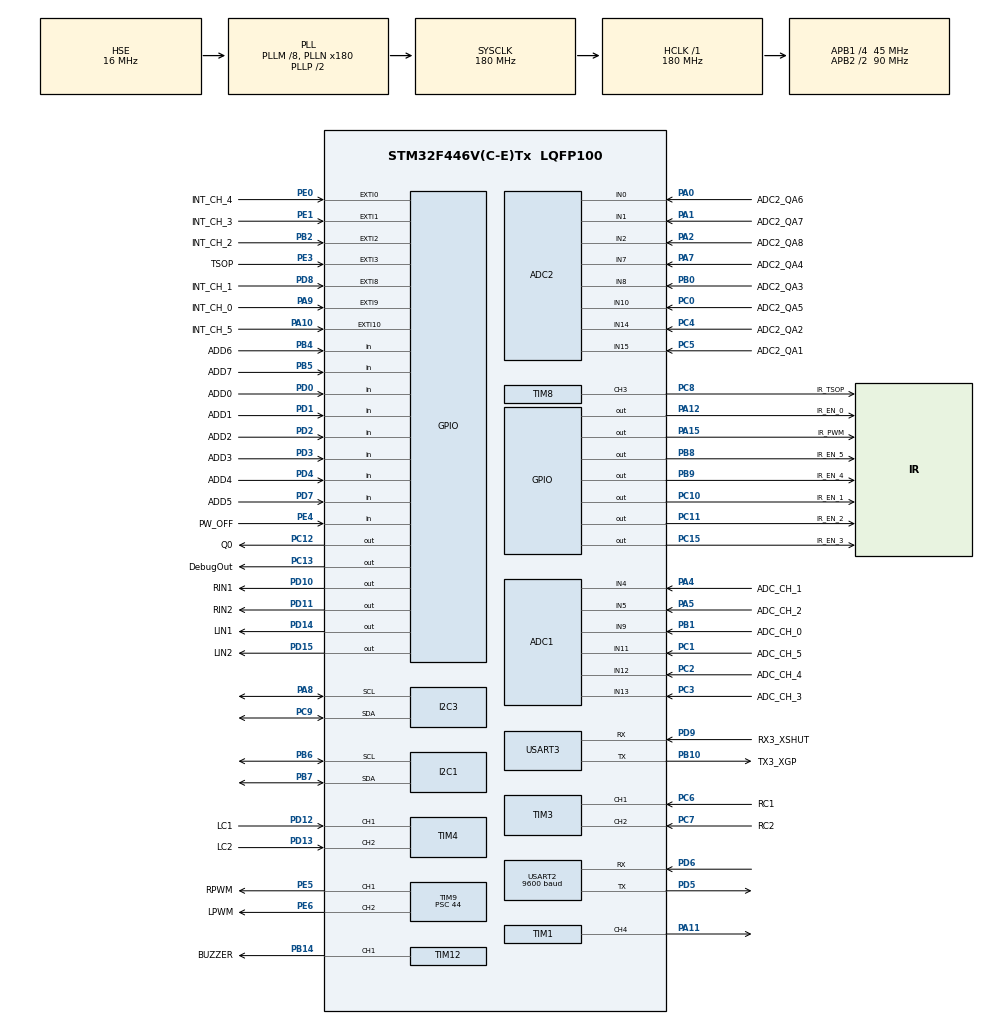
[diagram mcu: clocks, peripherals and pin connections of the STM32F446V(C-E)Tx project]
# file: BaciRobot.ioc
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ADC1.Channel-0\#ChannelRegularConversion=ADC_CHANNEL_9
ADC1.Channel-1\#ChannelRegularConversion=ADC_CHANNEL_4
ADC1.Channel-2\#ChannelRegularConversion=ADC_CHANNEL_5
ADC1.Channel-3\#ChannelRegularConversion=ADC_CHANNEL_13
ADC1.Channel-4\#ChannelRegularConversion=ADC_CHANNEL_12
ADC1.Channel-5\#ChannelRegularConversion=ADC_CHANNEL_11
ADC1.ClockPrescaler=ADC_CLOCK_SYNC_PCLK_DIV8
ADC1.ContinuousConvMode=DISABLE
ADC1.DMAContinuousRequests=DISABLE
ADC1.EOCSelection=ADC_EOC_SEQ_CONV
ADC1.NbrOfConversion=6
ADC1.NbrOfConversionFlag=1
ADC1.Rank-0\#ChannelRegularConversion=1
ADC1.Rank-1\#ChannelRegularConversion=2
ADC1.Rank-2\#ChannelRegularConversion=3
ADC1.Rank-3\#ChannelRegularConversion=4
ADC1.Rank-4\#ChannelRegularConversion=5
ADC1.Rank-5\#ChannelRegularConversion=6
ADC1.SamplingTime-0\#ChannelRegularConversion=ADC_SAMPLETIME_84CYCLES
ADC1.SamplingTime-1\#ChannelRegularConversion=ADC_SAMPLETIME_84CYCLES
ADC1.SamplingTime-2\#ChannelRegularConversion=ADC_SAMPLETIME_84CYCLES
ADC1.SamplingTime-3\#ChannelRegularConversion=ADC_SAMPLETIME_84CYCLES
ADC1.SamplingTime-4\#ChannelRegularConversion=ADC_SAMPLETIME_84CYCLES
ADC1.SamplingTime-5\#ChannelRegularConversion=ADC_SAMPLETIME_84CYCLES
ADC1.ScanConvMode=ENABLE
ADC1.master=1
ADC2.Channel-0\#ChannelRegularConversion=ADC_CHANNEL_15
ADC2.Channel-1\#ChannelRegularConversion=ADC_CHANNEL_14
ADC2.Channel-2\#ChannelRegularConversion=ADC_CHANNEL_8
ADC2.Channel-3\#ChannelRegularConversion=ADC_CHANNEL_7
ADC2.Channel-4\#ChannelRegularConversion=ADC_CHANNEL_10
ADC2.Channel-5\#ChannelRegularConversion=ADC_CHANNEL_0
ADC2.Channel-6\#ChannelRegularConversion=ADC_CHANNEL_1
ADC2.Channel-7\#ChannelRegularConversion=ADC_CHANNEL_2
ADC2.ClockPrescaler=ADC_CLOCK_SYNC_PCLK_DIV8
ADC2.EOCSelection=ADC_EOC_SEQ_CONV
ADC2.NbrOfConversion=8
ADC2.NbrOfConversionFlag=1
ADC2.Rank-0\#ChannelRegularConversion=1
ADC2.Rank-1\#ChannelRegularConversion=2
ADC2.Rank-2\#ChannelRegularConversion=3
ADC2.Rank-3\#ChannelRegularConversion=4
ADC2.Rank-4\#ChannelRegularConversion=5
ADC2.Rank-5\#ChannelRegularConversion=6
ADC2.Rank-6\#ChannelRegularConversion=7
ADC2.Rank-7\#ChannelRegularConversion=8
ADC2.SamplingTime-0\#ChannelRegularConversion=ADC_SAMPLETIME_28CYCLES
ADC2.SamplingTime-1\#ChannelRegularConversion=ADC_SAMPLETIME_28CYCLES
ADC2.SamplingTime-2\#ChannelRegularConversion=ADC_SAMPLETIME_28CYCLES
ADC2.SamplingTime-3\#ChannelRegularConversion=ADC_SAMPLETIME_28CYCLES
ADC2.SamplingTime-4\#ChannelRegularConversion=ADC_SAMPLETIME_28CYCLES
ADC2.SamplingTime-5\#ChannelRegularConversion=ADC_SAMPLETIME_28CYCLES
ADC2.SamplingTime-6\#ChannelRegularConversion=ADC_SAMPLETIME_28CYCLES
ADC2.SamplingTime-7\#ChannelRegularConversion=ADC_SAMPLETIME_28CYCLES
ADC2.ScanConvMode=ENABLE
Dma.ADC1.2.Direction=DMA_PERIPH_TO_MEMORY
Dma.ADC1.2.FIFOMode=DMA_FIFOMODE_DISABLE
Dma.ADC1.2.Instance=DMA2_Stream0
Dma.ADC1.2.MemDataAlignment=DMA_MDATAALIGN_WORD
Dma.ADC1.2.MemInc=DMA_MINC_ENABLE
Dma.ADC1.2.Mode=DMA_NORMAL
Dma.ADC1.2.PeriphDataAlignment=DMA_PDATAALIGN_WORD
Dma.ADC1.2.PeriphInc=DMA_PINC_DISABLE
Dma.ADC1.2.Priority=DMA_PRIORITY_LOW
Dma.ADC2.3.Direction=DMA_PERIPH_TO_MEMORY
Dma.ADC2.3.FIFOMode=DMA_FIFOMODE_DISABLE
Dma.ADC2.3.Instance=DMA2_Stream2
Dma.ADC2.3.MemDataAlignment=DMA_MDATAALIGN_WORD
Dma.ADC2.3.MemInc=DMA_MINC_ENABLE
Dma.ADC2.3.Mode=DMA_NORMAL
Dma.ADC2.3.PeriphDataAlignment=DMA_PDATAALIGN_WORD
Dma.ADC2.3.PeriphInc=DMA_PINC_DISABLE
Dma.ADC2.3.Priority=DMA_PRIORITY_LOW
Dma.Request0=USART2_TX
Dma.Request1=TIM1_CH4/TRIG/COM
Dma.Request2=ADC1
Dma.Request3=ADC2
Dma.TIM1_CH4/TRIG/COM.1.Direction=DMA_MEMORY_TO_PERIPH
Dma.TIM1_CH4/TRIG/COM.1.FIFOMode=DMA_FIFOMODE_DISABLE
Dma.TIM1_CH4/TRIG/COM.1.Instance=DMA2_Stream4
Dma.TIM1_CH4/TRIG/COM.1.MemDataAlignment=DMA_MDATAALIGN_HALFWORD
Dma.TIM1_CH4/TRIG/COM.1.MemInc=DMA_MINC_ENABLE
Dma.TIM1_CH4/TRIG/COM.1.Mode=DMA_NORMAL
Dma.TIM1_CH4/TRIG/COM.1.PeriphDataAlignment=DMA_PDATAALIGN_HALFWORD
Dma.TIM1_CH4/TRIG/COM.1.PeriphInc=DMA_PINC_DISABLE
Dma.TIM1_CH4/TRIG/COM.1.Priority=DMA_PRIORITY_LOW
Dma.USART2_TX.0.Direction=DMA_MEMORY_TO_PERIPH
Dma.USART2_TX.0.FIFOMode=DMA_FIFOMODE_DISABLE
Dma.USART2_TX.0.Instance=DMA1_Stream6
Dma.USART2_TX.0.MemDataAlignment=DMA_MDATAALIGN_BYTE
Dma.USART2_TX.0.MemInc=DMA_MINC_ENABLE
Dma.USART2_TX.0.Mode=DMA_NORMAL
Dma.USART2_TX.0.PeriphDataAlignment=DMA_PDATAALIGN_BYTE
Dma.USART2_TX.0.PeriphInc=DMA_PINC_DISABLE
Dma.USART2_TX.0.Priority=DMA_PRIORITY_LOW
Mcu.Family=STM32F4
Mcu.Name=STM32F446V(C-E)Tx
Mcu.Package=LQFP100
NVIC.DMA1_Stream6_IRQn=true\:15\:0\:true\:false\:true\:false\:true\:true
NVIC.DMA2_Stream0_IRQn=true\:11\:0\:true\:false\:true\:false\:true\:true
NVIC.DMA2_Stream2_IRQn=true\:15\:0\:true\:false\:true\:false\:true\:true
NVIC.DMA2_Stream4_IRQn=true\:15\:0\:true\:false\:true\:false\:true\:true
NVIC.EXTI0_IRQn=true\:10\:0\:true\:false\:true\:true\:true\:true
NVIC.EXTI15_10_IRQn=true\:10\:0\:true\:false\:true\:true\:true\:true
NVIC.EXTI1_IRQn=true\:10\:0\:true\:false\:true\:true\:true\:true
NVIC.EXTI2_IRQn=true\:10\:0\:true\:false\:true\:true\:true\:true
NVIC.EXTI3_IRQn=true\:8\:0\:true\:false\:true\:true\:true\:true
NVIC.EXTI9_5_IRQn=true\:10\:0\:true\:false\:true\:true\:true\:true
NVIC.I2C1_EV_IRQn=true\:15\:0\:true\:false\:true\:true\:true\:true
NVIC.I2C3_EV_IRQn=true\:15\:0\:true\:false\:true\:true\:true\:true
NVIC.PriorityGroup=NVIC_PRIORITYGROUP_4
NVIC.TIM2_IRQn=true\:12\:0\:true\:false\:true\:true\:true\:true
NVIC.USART2_IRQn=true\:15\:0\:true\:false\:true\:true\:true\:true
NVIC.USART3_IRQn=true\:15\:0\:true\:false\:true\:true\:true\:true
PA0-WKUP.GPIO_Label=ADC2_QA6
PA0-WKUP.Signal=ADCx_IN0
PA1.GPIO_Label=ADC2_QA7
PA1.Signal=ADCx_IN1
PA10.GPIO_Label=INT_CH_5
PA10.GPIO_ModeDefaultEXTI=GPIO_MODE_IT_RISING_FALLING
PA10.Signal=GPXTI10
PA11.Signal=S_TIM1_CH4
PA12.GPIO_Label=IR_EN_0
PA12.Signal=GPIO_Output
PA13.Mode=Trace_Asynchronous_SW
PA13.Signal=SYS_JTMS-SWDIO
PA14.Mode=Trace_Asynchronous_SW
PA14.Signal=SYS_JTCK-SWCLK
PA15.GPIO_Label=IR_PWM
PA15.GPIO_Speed=GPIO_SPEED_FREQ_VERY_HIGH
PA15.PinState=GPIO_PIN_SET
PA15.Signal=GPIO_Output
PA2.GPIO_Label=ADC2_QA8
PA2.Signal=ADCx_IN2
PA4.GPIO_Label=ADC_CH_1
PA4.Signal=ADCx_IN4
PA5.GPIO_Label=ADC_CH_2
PA5.Signal=ADCx_IN5
PA7.GPIO_Label=ADC2_QA4
PA7.Signal=ADCx_IN7
PA8.Mode=I2C
PA8.Signal=I2C3_SCL
PA9.GPIO_Label=INT_CH_0
PA9.GPIO_ModeDefaultEXTI=GPIO_MODE_IT_RISING_FALLING
PA9.Signal=GPXTI9
PB0.GPIO_Label=ADC2_QA3
PB0.Signal=ADCx_IN8
PB1.GPIO_Label=ADC_CH_0
PB1.Signal=ADCx_IN9
PB10.GPIO_Label=TX3_XGP
PB10.Mode=Asynchronous
PB10.Signal=USART3_TX
PB14.GPIO_Label=BUZZER
PB14.Signal=S_TIM12_CH1
PB2.GPIO_Label=INT_CH_2
PB2.GPIO_ModeDefaultEXTI=GPIO_MODE_IT_RISING_FALLING
PB2.Signal=GPXTI2
PB3.Mode=Trace_Asynchronous_SW
PB3.Signal=SYS_JTDO-SWO
PB4.GPIO_Label=ADD6
PB4.GPIO_PuPd=GPIO_PULLUP
PB4.Signal=GPIO_Input
PB5.GPIO_Label=ADD7
PB5.GPIO_PuPd=GPIO_PULLUP
PB5.Signal=GPIO_Input
PB6.Mode=I2C
PB6.Signal=I2C1_SCL
PB7.Mode=I2C
PB7.Signal=I2C1_SDA
PB8.GPIO_Label=IR_EN_5
PB8.Signal=GPIO_Output
PB9.GPIO_Label=IR_EN_4
PB9.Signal=GPIO_Output
PC0.GPIO_Label=ADC2_QA5
PC0.Signal=ADCx_IN10
PC1.GPIO_Label=ADC_CH_5
PC1.Signal=ADCx_IN11
PC10.GPIO_Label=IR_EN_1
PC10.Signal=GPIO_Output
PC11.GPIO_Label=IR_EN_2
PC11.Signal=GPIO_Output
PC12.GPIO_Label=Q0
PC12.Signal=GPIO_Output
PC13.GPIO_Label=DebugOut
PC13.Signal=GPIO_Output
PC15-OSC32_OUT.GPIO_Label=IR_EN_3
PC15-OSC32_OUT.Signal=GPIO_Output
PC2.GPIO_Label=ADC_CH_4
PC2.Signal=ADCx_IN12
PC3.GPIO_Label=ADC_CH_3
PC3.Signal=ADCx_IN13
PC4.GPIO_Label=ADC2_QA2
PC4.Signal=ADCx_IN14
PC5.GPIO_Label=ADC2_QA1
PC5.Signal=ADCx_IN15
PC6.GPIO_Label=RC1
PC6.GPIO_PuPd=GPIO_PULLUP
PC6.Signal=S_TIM3_CH1
PC7.GPIO_Label=RC2
PC7.GPIO_PuPd=GPIO_PULLUP
PC7.Signal=S_TIM3_CH2
PC8.GPIO_Label=IR_TSOP
PC8.GPIO_Speed=GPIO_SPEED_FREQ_VERY_HIGH
PC8.Signal=S_TIM8_CH3
PC9.Mode=I2C
PC9.Signal=I2C3_SDA
PD0.GPIO_Label=ADD0
PD0.GPIO_PuPd=GPIO_PULLUP
PD0.Signal=GPIO_Input
PD1.GPIO_Label=ADD1
PD1.GPIO_PuPd=GPIO_PULLUP
PD1.Signal=GPIO_Input
PD10.GPIO_Label=RIN1
PD10.Signal=GPIO_Output
PD11.GPIO_Label=RIN2
PD11.Signal=GPIO_Output
PD12.GPIO_Label=LC1
PD12.GPIO_PuPd=GPIO_PULLUP
PD12.Signal=S_TIM4_CH1
PD13.GPIO_Label=LC2
PD13.GPIO_PuPd=GPIO_PULLUP
PD13.Signal=S_TIM4_CH2
PD14.GPIO_Label=LIN1
PD14.Signal=GPIO_Output
PD15.GPIO_Label=LIN2
PD15.Signal=GPIO_Output
PD2.GPIO_Label=ADD2
PD2.GPIO_PuPd=GPIO_PULLUP
PD2.Signal=GPIO_Input
PD3.GPIO_Label=ADD3
PD3.GPIO_PuPd=GPIO_PULLUP
PD3.Signal=GPIO_Input
PD4.GPIO_Label=ADD4
PD4.GPIO_PuPd=GPIO_PULLUP
PD4.Signal=GPIO_Input
PD5.Mode=Asynchronous
PD5.Signal=USART2_TX
PD6.Mode=Asynchronous
PD6.Signal=USART2_RX
PD7.GPIO_Label=ADD5
PD7.GPIO_PuPd=GPIO_PULLUP
PD7.Signal=GPIO_Input
PD8.GPIO_Label=INT_CH_1
PD8.GPIO_ModeDefaultEXTI=GPIO_MODE_IT_RISING_FALLING
PD8.Signal=GPXTI8
PD9.GPIO_Label=RX3_XSHUT
PD9.Mode=Asynchronous
PD9.Signal=USART3_RX
PE0.GPIO_Label=INT_CH_4
PE0.GPIO_ModeDefaultEXTI=GPIO_MODE_IT_RISING_FALLING
PE0.Signal=GPXTI0
PE1.GPIO_Label=INT_CH_3
PE1.GPIO_ModeDefaultEXTI=GPIO_MODE_IT_RISING_FALLING
PE1.Signal=GPXTI1
PE3.GPIO_Label=TSOP
PE3.GPIO_ModeDefaultEXTI=GPIO_MODE_IT_RISING_FALLING
PE3.Signal=GPXTI3
PE4.GPIO_Label=PW_OFF
PE4.Signal=GPIO_Input
PE5.GPIO_Label=RPWM
PE5.GPIO_Speed=GPIO_SPEED_FREQ_VERY_HIGH
PE5.Signal=S_TIM9_CH1
PE6.GPIO_Label=LPWM
PE6.GPIO_Speed=GPIO_SPEED_FREQ_VERY_HIGH
PE6.Signal=S_TIM9_CH2
PH0-OSC_IN.Mode=HSE-External-Oscillator
PH0-OSC_IN.Signal=RCC_OSC_IN
PH1-OSC_OUT.Mode=HSE-External-Oscillator
PH1-OSC_OUT.Signal=RCC_OSC_OUT
ProjectManager.HeapSize=0x200
ProjectManager.StackSize=0x400
ProjectManager.TargetToolchain=STM32CubeIDE
RCC.AHBFreq_Value=180000000
RCC.APB1CLKDivider=RCC_HCLK_DIV4
RCC.APB1Freq_Value=45000000
RCC.APB1TimFreq_Value=90000000
RCC.APB2CLKDivider=RCC_HCLK_DIV2
RCC.APB2Freq_Value=90000000
RCC.APB2TimFreq_Value=180000000
RCC.CortexFreq_Value=180000000
RCC.HCLKFreq_Value=180000000
RCC.HSE_VALUE=16000000
RCC.PLLM=8
RCC.PLLN=180
RCC.PLLSourceVirtual=RCC_PLLSOURCE_HSE
RCC.SYSCLKFreq_VALUE=180000000
RCC.SYSCLKSource=RCC_SYSCLKSOURCE_PLLCLK
RCC.USBFreq_Value=180000000
RCC.VCOOutputFreq_Value=360000000
SH.ADCx_IN0.0=ADC2_IN0,IN0
SH.ADCx_IN1.0=ADC2_IN1,IN1
SH.ADCx_IN10.0=ADC2_IN10,IN10
SH.ADCx_IN11.0=ADC1_IN11,IN11
SH.ADCx_IN12.0=ADC1_IN12,IN12
SH.ADCx_IN13.0=ADC1_IN13,IN13
SH.ADCx_IN14.0=ADC2_IN14,IN14
SH.ADCx_IN15.0=ADC2_IN15,IN15
SH.ADCx_IN2.0=ADC2_IN2,IN2
SH.ADCx_IN4.0=ADC1_IN4,IN4
SH.ADCx_IN5.0=ADC1_IN5,IN5
SH.ADCx_IN7.0=ADC2_IN7,IN7
SH.ADCx_IN8.0=ADC2_IN8,IN8
SH.ADCx_IN9.0=ADC1_IN9,IN9
SH.S_TIM12_CH1.0=TIM12_CH1,Output Compare1 CH1
SH.S_TIM1_CH4.0=TIM1_CH4,PWM Generation4 CH4
SH.S_TIM3_CH1.0=TIM3_CH1,Encoder_Interface
SH.S_TIM3_CH2.0=TIM3_CH2,Encoder_Interface
SH.S_TIM4_CH1.0=TIM4_CH1,Encoder_Interface
SH.S_TIM4_CH2.0=TIM4_CH2,Encoder_Interface
SH.S_TIM8_CH3.0=TIM8_CH3,Output Compare3 CH3
SH.S_TIM9_CH1.0=TIM9_CH1,PWM Generation1 CH1
SH.S_TIM9_CH2.0=TIM9_CH2,PWM Generation2 CH2
TIM1.Channel-PWM\ Generation4\ CH4=TIM_CHANNEL_4
TIM1.Period=224
TIM12.Channel-Output\ Compare1\ CH1=TIM_CHANNEL_1
TIM12.OCMode_1=TIM_OCMODE_TOGGLE
TIM12.Prescaler=9
TIM2.Period=8999
TIM3.EncoderMode=TIM_ENCODERMODE_TI12
TIM3.IC1Filter=8
TIM3.IC1Polarity=TIM_ICPOLARITY_FALLING
TIM3.IC1Prescaler=TIM_ICPSC_DIV8
TIM3.IC2Filter=8
TIM3.IC2Polarity=TIM_ICPOLARITY_FALLING
TIM3.IC2Prescaler=TIM_ICPSC_DIV8
TIM4.EncoderMode=TIM_ENCODERMODE_TI12
TIM4.IC1Filter=8
TIM4.IC1Polarity=TIM_ICPOLARITY_FALLING
TIM4.IC1Prescaler=TIM_ICPSC_DIV8
TIM4.IC2Filter=8
TIM4.IC2Polarity=TIM_ICPOLARITY_FALLING
TIM4.IC2Prescaler=TIM_ICPSC_DIV8
TIM5.Prescaler=89
TIM8.Channel-Output\ Compare3\ CH3=TIM_CHANNEL_3
TIM8.OCMode_3=TIM_OCMODE_TOGGLE
TIM8.Period=3213
TIM8.Pulse-Output\ Compare3\ CH3=1607
TIM9.Channel-PWM\ Generation1\ CH1=TIM_CHANNEL_1
TIM9.Channel-PWM\ Generation2\ CH2=TIM_CHANNEL_2
TIM9.Period=99
TIM9.Prescaler=44
USART2.BaudRate=9600
USART2.VirtualMode=VM_ASYNC
USART3.VirtualMode=VM_ASYNC
VP_TIM12_VS_ClockSourceINT.Mode=Internal
VP_TIM1_VS_ClockSourceINT.Mode=Internal
VP_TIM2_VS_ClockSourceINT.Mode=Internal
VP_TIM5_VS_ClockSourceINT.Mode=Internal
VP_TIM8_VS_ClockSourceINT.Mode=Internal
VP_TIM9_VS_ClockSourceINT.Mode=Internal
board=custom

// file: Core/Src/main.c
/* USER CODE BEGIN Header */
/**
  ******************************************************************************
  * @file           : main.c
  * @brief          : Main program body
  ******************************************************************************
  * @attention
  *
  * Copyright (c) 2022 STMicroelectronics.
  * All rights reserved.
  *
  * This software is licensed under terms that can be found in the LICENSE file
  * in the root directory of this software component.
  * If no LICENSE file comes with this software, it is provided AS-IS.
  *
  ******************************************************************************
  */
/* USER CODE END Header */
#include "main.h"

/* USER CODE BEGIN Includes */
#include "stdint.h"
#include "string.h"
#include "stdio.h"

#include "Address.h"
#include "WS2812.h"
#include "Wheel.h"
#include "Interaction.h"
#include "QRE.h"
#include "IrTsop.h"
#include "Audio.h"
#include "I2CDevices.h"
#include "VL53l0x.h"

#include "Application.h"

/* USER CODE END Includes */

/* USER CODE BEGIN PM */

// resources comments
//-------------------------------
//ADC_HandleTypeDef hadc1;		// used in Interaction.c
//ADC_HandleTypeDef hadc2;		// used in QRE.c
//DMA_HandleTypeDef hdma_adc1;	// used in Interaction.c
//DMA_HandleTypeDef hdma_adc2;	// used in QRE.c

//TIM_HandleTypeDef htim1;		// used in WS2812.c to generate time stream (TIM1_CH4 -> PA11 -> ws2812)
//TIM_HandleTypeDef htim2;		// !! used as general purpose 10KHZ interrupt: Interaction.c, IrTsop.c (started in Interaction.c @ Init Section)
//TIM_HandleTypeDef htim3;		// used in Wheel.c as RIGHT Wheel Encoder
//TIM_HandleTypeDef htim4;		// used in Wheel.c as LEFT Wheel Encoder
//TIM_HandleTypeDef htim5;		// !! used as general purpose timer. just to go around up to max and start over. without interrupt: Interaction.c, IrTsop.c, (started in IrTsop.c @ Init Section) (90/(89+1))=1MHZ increment
//TIM_HandleTypeDef htim8;		// used in IrTsop to generate the 56KHZ IR modulation (TIM8_CH3 -> PC8) (started in IrTsop.c @ Init Section)
//TIM_HandleTypeDef htim9;		// used in Wheel.c as 20KHZ PWM source for the motor control
//TIM_HandleTypeDef htim12;		// used for Audio frequency generation: (TIM12_CH1 -> PB14 = BUZZER). used in Audio.c
//DMA_HandleTypeDef hdma_tim1_ch4_trig_com;		// used in WS2812.c to drive the LED's through DMA->PWM

//UART_HandleTypeDef huart2;			// used as debug channel
//DMA_HandleTypeDef hdma_usart2_tx;		// used as debug channel
//-------------------------------

/* USER CODE END PM */

ADC_HandleTypeDef hadc1;
ADC_HandleTypeDef hadc2;
DMA_HandleTypeDef hdma_adc1;
DMA_HandleTypeDef hdma_adc2;

I2C_HandleTypeDef hi2c1;
I2C_HandleTypeDef hi2c3;

TIM_HandleTypeDef htim1;
TIM_HandleTypeDef htim2;
TIM_HandleTypeDef htim3;
TIM_HandleTypeDef htim4;
TIM_HandleTypeDef htim5;
TIM_HandleTypeDef htim8;
TIM_HandleTypeDef htim9;
TIM_HandleTypeDef htim12;
DMA_HandleTypeDef hdma_tim1_ch4_trig_com;

UART_HandleTypeDef huart2;
UART_HandleTypeDef huart3;
DMA_HandleTypeDef hdma_usart2_tx;

/* USER CODE BEGIN PV */

// DEBUG RX / TX
//--------------------------------------------------
// RX
// RX is done using Interrupts
uint8_t m_ucDegugBufferRX[DEBUG_RX_BUFFER_SIZE];
uint8_t m_ucDebugRXCounter;		// used during RX reception
uint8_t m_ucDebugRXStatus;		// used to determine keep the status during reception
uint8_t m_ucDebugRXTempChar;	// single char received in RX-IT mode

// TX
// TX is done using DMA
uint8_t m_ucDebugBufferTX[DEBUG_TX_BUFFER_SIZE];
uint8_t m_ucDebugTXStatus;		// used to signal if a TX is in use or not

// testsection
char m_ucDebufTestBuffer[100];
char m_chTXData[100];
uint8_t m_ucTemp1, m_ucTemp2;
//uint16_t m_ui16Temp, m_ui16Temp2;
//--------------------------------------------------

/* USER CODE END PV */

void SystemClock_Config(void);
static void MX_GPIO_Init(void);
static void MX_DMA_Init(void);
static void MX_USART2_UART_Init(void);
static void MX_TIM1_Init(void);
static void MX_TIM3_Init(void);
static void MX_TIM4_Init(void);
static void MX_TIM9_Init(void);
static void MX_ADC1_Init(void);
static void MX_TIM2_Init(void);
static void MX_TIM5_Init(void);
static void MX_ADC2_Init(void);
static void MX_TIM8_Init(void);
static void MX_TIM12_Init(void);
static void MX_I2C1_Init(void);
static void MX_I2C3_Init(void);
static void MX_USART3_UART_Init(void);

/* USER CODE BEGIN 0 */

//--------------------------------------------------
// DEBUG RX / TX

void DebugInit(void)
{
	// RX
	memset(m_ucDegugBufferRX,0,sizeof(m_ucDegugBufferRX));
	m_ucDebugRXCounter = 0;
	m_ucDebugRXStatus = 0;
	if(HAL_UART_Receive_IT(&huart2, &m_ucDebugRXTempChar, 1) != HAL_OK)
	{
		Error_Handler2(ERROR_CODE_MAIN_DEBUG_INIT);
		//Error_Handler();
	}

	//TX
	memset(m_ucDebugBufferTX,0,sizeof(m_ucDebugBufferTX));
	m_ucDebugTXStatus = DEBUG_TX_OK;

	return;
}
//--------------------------------------------------

// RX section
//--------------------------------------------------
void HAL_UART_RxCpltCallback(UART_HandleTypeDef *huart)
{
	//char chTemp[50];

	// USART2 = used for debugging
	// USART3 = used for VL53L0X distance sensor
	if(huart->Instance == USART3)
	{	// this is for VL53L0x
		// call the proper function:
		VL53l0xRXComplete();
		return;
	}

#ifdef WHEEL_DEBUG_MODE
	// WheelDebugRXString();					// debug the Wheel.c with string message
	WheelDebugRXChar(m_ucDebugRXTempChar);		// debug the Wheel.c with single char messages
#endif

#ifdef WS2812_DEBUG_MODE
	// WS2812DebugRXString();					// debug the Wheel.c with string message
	WS2812DebugRXChar(m_ucDebugRXTempChar);		// debug the Wheel.c with single char messages
#endif

#ifdef INTERACTION_DEBUG_MODE
	// InteractionDebugRXString();					// debug the Interaction.c with string message
	InteractionDebugRXChar(m_ucDebugRXTempChar);		// debug the Interaction.c with single char messages
#endif

#ifdef QRE_DEBUG_MODE
	// QREDebugRXString();					// debug the QRE.c with string message
	QREDebugRXChar(m_ucDebugRXTempChar);		// debug the QRE.c with single char messages
#endif

#ifdef IRTSOP_DEBUG_MODE
	// IrTsopDebugRXString();					// debug the IrTsop.c with string message
	IrTsopDebugRXChar(m_ucDebugRXTempChar);		// debug the IrTsop.c with single char messages
#endif

#ifdef AUDIO_DEBUG_MODE
	// AudioDebugRXString();					// debug the Audio.c with string message
	AudioDebugRXChar(m_ucDebugRXTempChar);		// debug the Audio.c with single char messages
#endif

#ifdef I2CDEVICES_DEBUG_MODE
	// I2CDevicesDebugRXString();					// debug the I2CDevices.c with string message
	I2CDevicesDebugRXChar(m_ucDebugRXTempChar);		// debug the I2CDevices.c with single char messages
#endif

#ifdef ADDRESS_DEBUG_MODE
	// AddressDebugRXString();						// debug the Address.c with string message
	AddressDebugRXChar(m_ucDebugRXTempChar);		// debug the Address.c with single char messages
#endif

#ifdef VL53L0X_DEBUG_MODE
	// VL53l0xDebugRXString();						// debug the VL53l0x.c with string message
	VL53l0xDebugRXChar(m_ucDebugRXTempChar);		// debug the VL53l0x.c with single char messages
#endif

#ifdef APPLICATION_DEBUG_MODE
	// ApplicationDebugRX();							// debug the Application.c with string message
	ApplicationDebugRXChar(m_ucDebugRXTempChar);		// debug the Application.c with single char messages
#endif

	//sprintf(chTemp,"The received char is >%c<\n\r",m_ucDebugRXTempChar);
	//sprintf(chTemp,"Intensity=%d   Bakance=%d\n\r",m_ucTemp1,m_ucTemp2);

	//DebugSendData((uint8_t*)chTemp,strlen(chTemp));

	if(HAL_UART_Receive_IT(&huart2, &m_ucDebugRXTempChar, 1) != HAL_OK)
	{
		//Error_Handler2(ERROR_CODE_MAIN_DEBUG_RXCPLTCLBACK);
		//Error_Handler();
	}
	return;
}
//--------------------------------------------------

// TX section
uint8_t DebugSendData(uint8_t *ucDataBuffer, uint8_t ucDataLength)
{
	uint8_t i;
	uint8_t ErrorStatus;

	if(m_ucDebugTXStatus != DEBUG_TX_OK)			return DEBUG_TX_BUSY;
	if(ucDataLength > (DEBUG_TX_BUFFER_SIZE - 1)) 	return DEBUG_TX_DATA_ERROR;

	for(i=0;i<ucDataLength;i++) m_ucDebugBufferTX[i] = ucDataBuffer[i];

	ErrorStatus = HAL_UART_Transmit_DMA(&huart2, (uint8_t*)m_ucDebugBufferTX, (uint16_t)ucDataLength);
	if(ErrorStatus == HAL_BUSY)						return DEBUG_TX_BUSY;
	if(ErrorStatus != HAL_OK)
	//if(HAL_UART_Transmit(&huart2, (uint8_t*)m_ucDebugBufferTX, (uint16_t)ucDataLength,HAL_MAX_DELAY) != HAL_OK)
	{
		Error_Handler2(ERROR_CODE_MAIN_DEBUG_SENDDATA);
		//return DEBUG_TX_DMA_ERROR;
		//Error_Handler();
	}

	m_ucDebugTXStatus = DEBUG_TX_BUSY;		// set TX in use and clear @ callback handler
	return DEBUG_TX_OK;
}
//--------------------------------------------------

void HAL_UART_TxCpltCallback(UART_HandleTypeDef *huart)
{
  //UNUSED(huart);
	if(huart->Instance == USART2)
	{
		m_ucDebugTXStatus = DEBUG_TX_OK;
	}

	return;
}
//--------------------------------------------------

/* USER CODE END 0 */

int main(void)
{

  /* MCU Configuration--------------------------------------------------------*/

  /* Reset of all peripherals, Initializes the Flash interface and the Systick. */
  HAL_Init();

  /* Configure the system clock */
  SystemClock_Config();

  /* Initialize all configured peripherals */
  MX_GPIO_Init();
  MX_DMA_Init();
  MX_USART2_UART_Init();
  MX_TIM1_Init();
  MX_TIM3_Init();
  MX_TIM4_Init();
  MX_TIM9_Init();
  MX_ADC1_Init();
  MX_TIM2_Init();
  MX_TIM5_Init();
  MX_ADC2_Init();
  MX_TIM8_Init();
  MX_TIM12_Init();
  MX_I2C1_Init();
  MX_I2C3_Init();
  MX_USART3_UART_Init();
  /* USER CODE BEGIN 2 */

  // all inits
  DebugInit();
  I2CDevicesInit();		// many other inits may relay on the I2C EEPROM
  AddressInit();
  WS2812Init();
  WheelInit();
  InteractionInit();
  QREInit();
  IrTsopInit();
  AudioInit();
  VL53l0xInit();

  ApplicationInit();

  // tests
  sprintf(m_ucDebufTestBuffer,"my first robot string 2\r\n");
  DebugSendData((uint8_t *)m_ucDebufTestBuffer, strlen(m_ucDebufTestBuffer));

  /* USER CODE END 2 */

  /* Infinite loop */
  /* USER CODE BEGIN WHILE */
  while (1)
  {

	  //HAL_GPIO_WritePin(GPIOC, GPIO_PIN_13, GPIO_PIN_SET);	//  debug on PC13 HIGH

	  AddressMainLoop();
	  WS2812MainLoop();
	  WheelMainLoop();
	  InteractionMainLoop();
	  QREMainLoop();
	  IrTsopMainLoop();
	  AudioMainLoop();
	  I2CDevicesMainLoop();
	  VL53l0xMainLoop();

	  ApplicationMainLoop();

	  //HAL_GPIO_WritePin(GPIOC, GPIO_PIN_13, GPIO_PIN_RESET);  //	debug on PC13 LOW

    /* USER CODE END WHILE */

  }
}

void SystemClock_Config(void)
{
  RCC_OscInitTypeDef RCC_OscInitStruct = {0};
  RCC_ClkInitTypeDef RCC_ClkInitStruct = {0};

  /** Configure the main internal regulator output voltage
  */
  __HAL_RCC_PWR_CLK_ENABLE();
  __HAL_PWR_VOLTAGESCALING_CONFIG(PWR_REGULATOR_VOLTAGE_SCALE1);

  /** Initializes the RCC Oscillators according to the specified parameters
  * in the RCC_OscInitTypeDef structure.
  */
  RCC_OscInitStruct.OscillatorType = RCC_OSCILLATORTYPE_HSE;
  RCC_OscInitStruct.HSEState = RCC_HSE_ON;
  RCC_OscInitStruct.PLL.PLLState = RCC_PLL_ON;
  RCC_OscInitStruct.PLL.PLLSource = RCC_PLLSOURCE_HSE;
  RCC_OscInitStruct.PLL.PLLM = 8;
  RCC_OscInitStruct.PLL.PLLN = 180;
  RCC_OscInitStruct.PLL.PLLP = RCC_PLLP_DIV2;
  RCC_OscInitStruct.PLL.PLLQ = 2;
  RCC_OscInitStruct.PLL.PLLR = 2;
  if (HAL_RCC_OscConfig(&RCC_OscInitStruct) != HAL_OK)
  {
    Error_Handler();
  }

  /** Activate the Over-Drive mode
  */
  if (HAL_PWREx_EnableOverDrive() != HAL_OK)
  {
    Error_Handler();
  }

  /** Initializes the CPU, AHB and APB buses clocks
  */
  RCC_ClkInitStruct.ClockType = RCC_CLOCKTYPE_HCLK|RCC_CLOCKTYPE_SYSCLK
                              |RCC_CLOCKTYPE_PCLK1|RCC_CLOCKTYPE_PCLK2;
  RCC_ClkInitStruct.SYSCLKSource = RCC_SYSCLKSOURCE_PLLCLK;
  RCC_ClkInitStruct.AHBCLKDivider = RCC_SYSCLK_DIV1;
  RCC_ClkInitStruct.APB1CLKDivider = RCC_HCLK_DIV4;
  RCC_ClkInitStruct.APB2CLKDivider = RCC_HCLK_DIV2;

  if (HAL_RCC_ClockConfig(&RCC_ClkInitStruct, FLASH_LATENCY_5) != HAL_OK)
  {
    Error_Handler();
  }
}

static void MX_ADC1_Init(void)
{

  ADC_ChannelConfTypeDef sConfig = {0};

  /** Configure the global features of the ADC (Clock, Resolution, Data Alignment and number of conversion)
  */
  hadc1.Instance = ADC1;
  hadc1.Init.ClockPrescaler = ADC_CLOCK_SYNC_PCLK_DIV8;
  hadc1.Init.Resolution = ADC_RESOLUTION_12B;
  hadc1.Init.ScanConvMode = ENABLE;
  hadc1.Init.ContinuousConvMode = DISABLE;
  hadc1.Init.DiscontinuousConvMode = DISABLE;
  hadc1.Init.ExternalTrigConvEdge = ADC_EXTERNALTRIGCONVEDGE_NONE;
  hadc1.Init.ExternalTrigConv = ADC_SOFTWARE_START;
  hadc1.Init.DataAlign = ADC_DATAALIGN_RIGHT;
  hadc1.Init.NbrOfConversion = 6;
  hadc1.Init.DMAContinuousRequests = DISABLE;
  hadc1.Init.EOCSelection = ADC_EOC_SEQ_CONV;
  if (HAL_ADC_Init(&hadc1) != HAL_OK)
  {
    Error_Handler();
  }

  /** Configure for the selected ADC regular channel its corresponding rank in the sequencer and its sample time.
  */
  sConfig.Channel = ADC_CHANNEL_9;
  sConfig.Rank = 1;
  sConfig.SamplingTime = ADC_SAMPLETIME_84CYCLES;
  if (HAL_ADC_ConfigChannel(&hadc1, &sConfig) != HAL_OK)
  {
    Error_Handler();
  }

  /** Configure for the selected ADC regular channel its corresponding rank in the sequencer and its sample time.
  */
  sConfig.Channel = ADC_CHANNEL_4;
  sConfig.Rank = 2;
  if (HAL_ADC_ConfigChannel(&hadc1, &sConfig) != HAL_OK)
  {
    Error_Handler();
  }

  /** Configure for the selected ADC regular channel its corresponding rank in the sequencer and its sample time.
  */
  sConfig.Channel = ADC_CHANNEL_5;
  sConfig.Rank = 3;
  if (HAL_ADC_ConfigChannel(&hadc1, &sConfig) != HAL_OK)
  {
    Error_Handler();
  }

  /** Configure for the selected ADC regular channel its corresponding rank in the sequencer and its sample time.
  */
  sConfig.Channel = ADC_CHANNEL_13;
  sConfig.Rank = 4;
  if (HAL_ADC_ConfigChannel(&hadc1, &sConfig) != HAL_OK)
  {
    Error_Handler();
  }

  /** Configure for the selected ADC regular channel its corresponding rank in the sequencer and its sample time.
  */
  sConfig.Channel = ADC_CHANNEL_12;
  sConfig.Rank = 5;
  if (HAL_ADC_ConfigChannel(&hadc1, &sConfig) != HAL_OK)
  {
    Error_Handler();
  }

  /** Configure for the selected ADC regular channel its corresponding rank in the sequencer and its sample time.
  */
  sConfig.Channel = ADC_CHANNEL_11;
  sConfig.Rank = 6;
  if (HAL_ADC_ConfigChannel(&hadc1, &sConfig) != HAL_OK)
  {
    Error_Handler();
  }

}

static void MX_ADC2_Init(void)
{

  ADC_ChannelConfTypeDef sConfig = {0};

  /** Configure the global features of the ADC (Clock, Resolution, Data Alignment and number of conversion)
  */
  hadc2.Instance = ADC2;
  hadc2.Init.ClockPrescaler = ADC_CLOCK_SYNC_PCLK_DIV8;
  hadc2.Init.Resolution = ADC_RESOLUTION_12B;
  hadc2.Init.ScanConvMode = ENABLE;
  hadc2.Init.ContinuousConvMode = DISABLE;
  hadc2.Init.DiscontinuousConvMode = DISABLE;
  hadc2.Init.ExternalTrigConvEdge = ADC_EXTERNALTRIGCONVEDGE_NONE;
  hadc2.Init.ExternalTrigConv = ADC_SOFTWARE_START;
  hadc2.Init.DataAlign = ADC_DATAALIGN_RIGHT;
  hadc2.Init.NbrOfConversion = 8;
  hadc2.Init.DMAContinuousRequests = DISABLE;
  hadc2.Init.EOCSelection = ADC_EOC_SEQ_CONV;
  if (HAL_ADC_Init(&hadc2) != HAL_OK)
  {
    Error_Handler();
  }

  /** Configure for the selected ADC regular channel its corresponding rank in the sequencer and its sample time.
  */
  sConfig.Channel = ADC_CHANNEL_15;
  sConfig.Rank = 1;
  sConfig.SamplingTime = ADC_SAMPLETIME_28CYCLES;
  if (HAL_ADC_ConfigChannel(&hadc2, &sConfig) != HAL_OK)
  {
    Error_Handler();
  }

  /** Configure for the selected ADC regular channel its corresponding rank in the sequencer and its sample time.
  */
  sConfig.Channel = ADC_CHANNEL_14;
  sConfig.Rank = 2;
  if (HAL_ADC_ConfigChannel(&hadc2, &sConfig) != HAL_OK)
  {
    Error_Handler();
  }

  /** Configure for the selected ADC regular channel its corresponding rank in the sequencer and its sample time.
  */
  sConfig.Channel = ADC_CHANNEL_8;
  sConfig.Rank = 3;
  if (HAL_ADC_ConfigChannel(&hadc2, &sConfig) != HAL_OK)
  {
    Error_Handler();
  }

  /** Configure for the selected ADC regular channel its corresponding rank in the sequencer and its sample time.
  */
  sConfig.Channel = ADC_CHANNEL_7;
  sConfig.Rank = 4;
  if (HAL_ADC_ConfigChannel(&hadc2, &sConfig) != HAL_OK)
  {
    Error_Handler();
  }

  /** Configure for the selected ADC regular channel its corresponding rank in the sequencer and its sample time.
  */
  sConfig.Channel = ADC_CHANNEL_10;
  sConfig.Rank = 5;
  if (HAL_ADC_ConfigChannel(&hadc2, &sConfig) != HAL_OK)
  {
    Error_Handler();
  }

  /** Configure for the selected ADC regular channel its corresponding rank in the sequencer and its sample time.
  */
  sConfig.Channel = ADC_CHANNEL_0;
  sConfig.Rank = 6;
  if (HAL_ADC_ConfigChannel(&hadc2, &sConfig) != HAL_OK)
  {
    Error_Handler();
  }

  /** Configure for the selected ADC regular channel its corresponding rank in the sequencer and its sample time.
  */
  sConfig.Channel = ADC_CHANNEL_1;
  sConfig.Rank = 7;
  if (HAL_ADC_ConfigChannel(&hadc2, &sConfig) != HAL_OK)
  {
    Error_Handler();
  }

  /** Configure for the selected ADC regular channel its corresponding rank in the sequencer and its sample time.
  */
  sConfig.Channel = ADC_CHANNEL_2;
  sConfig.Rank = 8;
  if (HAL_ADC_ConfigChannel(&hadc2, &sConfig) != HAL_OK)
  {
    Error_Handler();
  }

}

static void MX_I2C1_Init(void)
{

  hi2c1.Instance = I2C1;
  hi2c1.Init.ClockSpeed = 100000;
  hi2c1.Init.DutyCycle = I2C_DUTYCYCLE_2;
  hi2c1.Init.OwnAddress1 = 0;
  hi2c1.Init.AddressingMode = I2C_ADDRESSINGMODE_7BIT;
  hi2c1.Init.DualAddressMode = I2C_DUALADDRESS_DISABLE;
  hi2c1.Init.OwnAddress2 = 0;
  hi2c1.Init.GeneralCallMode = I2C_GENERALCALL_DISABLE;
  hi2c1.Init.NoStretchMode = I2C_NOSTRETCH_DISABLE;
  if (HAL_I2C_Init(&hi2c1) != HAL_OK)
  {
    Error_Handler();
  }

}

static void MX_I2C3_Init(void)
{

  hi2c3.Instance = I2C3;
  hi2c3.Init.ClockSpeed = 100000;
  hi2c3.Init.DutyCycle = I2C_DUTYCYCLE_2;
  hi2c3.Init.OwnAddress1 = 0;
  hi2c3.Init.AddressingMode = I2C_ADDRESSINGMODE_7BIT;
  hi2c3.Init.DualAddressMode = I2C_DUALADDRESS_DISABLE;
  hi2c3.Init.OwnAddress2 = 0;
  hi2c3.Init.GeneralCallMode = I2C_GENERALCALL_DISABLE;
  hi2c3.Init.NoStretchMode = I2C_NOSTRETCH_DISABLE;
  if (HAL_I2C_Init(&hi2c3) != HAL_OK)
  {
    Error_Handler();
  }

}

static void MX_TIM1_Init(void)
{

  TIM_ClockConfigTypeDef sClockSourceConfig = {0};
  TIM_MasterConfigTypeDef sMasterConfig = {0};
  TIM_OC_InitTypeDef sConfigOC = {0};
  TIM_BreakDeadTimeConfigTypeDef sBreakDeadTimeConfig = {0};

  htim1.Instance = TIM1;
  htim1.Init.Prescaler = 0;
  htim1.Init.CounterMode = TIM_COUNTERMODE_UP;
  htim1.Init.Period = 224;
  htim1.Init.ClockDivision = TIM_CLOCKDIVISION_DIV1;
  htim1.Init.RepetitionCounter = 0;
  htim1.Init.AutoReloadPreload = TIM_AUTORELOAD_PRELOAD_DISABLE;
  if (HAL_TIM_Base_Init(&htim1) != HAL_OK)
  {
    Error_Handler();
  }
  sClockSourceConfig.ClockSource = TIM_CLOCKSOURCE_INTERNAL;
  if (HAL_TIM_ConfigClockSource(&htim1, &sClockSourceConfig) != HAL_OK)
  {
    Error_Handler();
  }
  if (HAL_TIM_PWM_Init(&htim1) != HAL_OK)
  {
    Error_Handler();
  }
  sMasterConfig.MasterOutputTrigger = TIM_TRGO_RESET;
  sMasterConfig.MasterSlaveMode = TIM_MASTERSLAVEMODE_DISABLE;
  if (HAL_TIMEx_MasterConfigSynchronization(&htim1, &sMasterConfig) != HAL_OK)
  {
    Error_Handler();
  }
  sConfigOC.OCMode = TIM_OCMODE_PWM1;
  sConfigOC.Pulse = 0;
  sConfigOC.OCPolarity = TIM_OCPOLARITY_HIGH;
  sConfigOC.OCFastMode = TIM_OCFAST_DISABLE;
  sConfigOC.OCIdleState = TIM_OCIDLESTATE_RESET;
  sConfigOC.OCNIdleState = TIM_OCNIDLESTATE_RESET;
  if (HAL_TIM_PWM_ConfigChannel(&htim1, &sConfigOC, TIM_CHANNEL_4) != HAL_OK)
  {
    Error_Handler();
  }
  sBreakDeadTimeConfig.OffStateRunMode = TIM_OSSR_DISABLE;
  sBreakDeadTimeConfig.OffStateIDLEMode = TIM_OSSI_DISABLE;
  sBreakDeadTimeConfig.LockLevel = TIM_LOCKLEVEL_OFF;
  sBreakDeadTimeConfig.DeadTime = 0;
  sBreakDeadTimeConfig.BreakState = TIM_BREAK_DISABLE;
  sBreakDeadTimeConfig.BreakPolarity = TIM_BREAKPOLARITY_HIGH;
  sBreakDeadTimeConfig.AutomaticOutput = TIM_AUTOMATICOUTPUT_DISABLE;
  if (HAL_TIMEx_ConfigBreakDeadTime(&htim1, &sBreakDeadTimeConfig) != HAL_OK)
  {
    Error_Handler();
  }
  HAL_TIM_MspPostInit(&htim1);

}

static void MX_TIM2_Init(void)
{

  TIM_ClockConfigTypeDef sClockSourceConfig = {0};
  TIM_MasterConfigTypeDef sMasterConfig = {0};

  htim2.Instance = TIM2;
  htim2.Init.Prescaler = 0;
  htim2.Init.CounterMode = TIM_COUNTERMODE_UP;
  htim2.Init.Period = 8999;
  htim2.Init.ClockDivision = TIM_CLOCKDIVISION_DIV1;
  htim2.Init.AutoReloadPreload = TIM_AUTORELOAD_PRELOAD_DISABLE;
  if (HAL_TIM_Base_Init(&htim2) != HAL_OK)
  {
    Error_Handler();
  }
  sClockSourceConfig.ClockSource = TIM_CLOCKSOURCE_INTERNAL;
  if (HAL_TIM_ConfigClockSource(&htim2, &sClockSourceConfig) != HAL_OK)
  {
    Error_Handler();
  }
  sMasterConfig.MasterOutputTrigger = TIM_TRGO_RESET;
  sMasterConfig.MasterSlaveMode = TIM_MASTERSLAVEMODE_DISABLE;
  if (HAL_TIMEx_MasterConfigSynchronization(&htim2, &sMasterConfig) != HAL_OK)
  {
    Error_Handler();
  }

}

static void MX_TIM3_Init(void)
{

  TIM_Encoder_InitTypeDef sConfig = {0};
  TIM_MasterConfigTypeDef sMasterConfig = {0};

  htim3.Instance = TIM3;
  htim3.Init.Prescaler = 0;
  htim3.Init.CounterMode = TIM_COUNTERMODE_UP;
  htim3.Init.Period = 65535;
  htim3.Init.ClockDivision = TIM_CLOCKDIVISION_DIV1;
  htim3.Init.AutoReloadPreload = TIM_AUTORELOAD_PRELOAD_DISABLE;
  sConfig.EncoderMode = TIM_ENCODERMODE_TI12;
  sConfig.IC1Polarity = TIM_ICPOLARITY_FALLING;
  sConfig.IC1Selection = TIM_ICSELECTION_DIRECTTI;
  sConfig.IC1Prescaler = TIM_ICPSC_DIV8;
  sConfig.IC1Filter = 8;
  sConfig.IC2Polarity = TIM_ICPOLARITY_FALLING;
  sConfig.IC2Selection = TIM_ICSELECTION_DIRECTTI;
  sConfig.IC2Prescaler = TIM_ICPSC_DIV8;
  sConfig.IC2Filter = 8;
  if (HAL_TIM_Encoder_Init(&htim3, &sConfig) != HAL_OK)
  {
    Error_Handler();
  }
  sMasterConfig.MasterOutputTrigger = TIM_TRGO_RESET;
  sMasterConfig.MasterSlaveMode = TIM_MASTERSLAVEMODE_DISABLE;
  if (HAL_TIMEx_MasterConfigSynchronization(&htim3, &sMasterConfig) != HAL_OK)
  {
    Error_Handler();
  }

}

static void MX_TIM4_Init(void)
{

  TIM_Encoder_InitTypeDef sConfig = {0};
  TIM_MasterConfigTypeDef sMasterConfig = {0};

  htim4.Instance = TIM4;
  htim4.Init.Prescaler = 0;
  htim4.Init.CounterMode = TIM_COUNTERMODE_UP;
  htim4.Init.Period = 65535;
  htim4.Init.ClockDivision = TIM_CLOCKDIVISION_DIV1;
  htim4.Init.AutoReloadPreload = TIM_AUTORELOAD_PRELOAD_DISABLE;
  sConfig.EncoderMode = TIM_ENCODERMODE_TI12;
  sConfig.IC1Polarity = TIM_ICPOLARITY_FALLING;
  sConfig.IC1Selection = TIM_ICSELECTION_DIRECTTI;
  sConfig.IC1Prescaler = TIM_ICPSC_DIV8;
  sConfig.IC1Filter = 8;
  sConfig.IC2Polarity = TIM_ICPOLARITY_FALLING;
  sConfig.IC2Selection = TIM_ICSELECTION_DIRECTTI;
  sConfig.IC2Prescaler = TIM_ICPSC_DIV8;
  sConfig.IC2Filter = 8;
  if (HAL_TIM_Encoder_Init(&htim4, &sConfig) != HAL_OK)
  {
    Error_Handler();
  }
  sMasterConfig.MasterOutputTrigger = TIM_TRGO_RESET;
  sMasterConfig.MasterSlaveMode = TIM_MASTERSLAVEMODE_DISABLE;
  if (HAL_TIMEx_MasterConfigSynchronization(&htim4, &sMasterConfig) != HAL_OK)
  {
    Error_Handler();
  }

}

static void MX_TIM5_Init(void)
{

  TIM_ClockConfigTypeDef sClockSourceConfig = {0};
  TIM_MasterConfigTypeDef sMasterConfig = {0};

  htim5.Instance = TIM5;
  htim5.Init.Prescaler = 89;
  htim5.Init.CounterMode = TIM_COUNTERMODE_UP;
  htim5.Init.Period = 4294967295;
  htim5.Init.ClockDivision = TIM_CLOCKDIVISION_DIV1;
  htim5.Init.AutoReloadPreload = TIM_AUTORELOAD_PRELOAD_DISABLE;
  if (HAL_TIM_Base_Init(&htim5) != HAL_OK)
  {
    Error_Handler();
  }
  sClockSourceConfig.ClockSource = TIM_CLOCKSOURCE_INTERNAL;
  if (HAL_TIM_ConfigClockSource(&htim5, &sClockSourceConfig) != HAL_OK)
  {
    Error_Handler();
  }
  sMasterConfig.MasterOutputTrigger = TIM_TRGO_RESET;
  sMasterConfig.MasterSlaveMode = TIM_MASTERSLAVEMODE_DISABLE;
  if (HAL_TIMEx_MasterConfigSynchronization(&htim5, &sMasterConfig) != HAL_OK)
  {
    Error_Handler();
  }

}

static void MX_TIM8_Init(void)
{

  TIM_ClockConfigTypeDef sClockSourceConfig = {0};
  TIM_MasterConfigTypeDef sMasterConfig = {0};
  TIM_OC_InitTypeDef sConfigOC = {0};
  TIM_BreakDeadTimeConfigTypeDef sBreakDeadTimeConfig = {0};

  htim8.Instance = TIM8;
  htim8.Init.Prescaler = 0;
  htim8.Init.CounterMode = TIM_COUNTERMODE_UP;
  htim8.Init.Period = 3213;
  htim8.Init.ClockDivision = TIM_CLOCKDIVISION_DIV1;
  htim8.Init.RepetitionCounter = 0;
  htim8.Init.AutoReloadPreload = TIM_AUTORELOAD_PRELOAD_DISABLE;
  if (HAL_TIM_Base_Init(&htim8) != HAL_OK)
  {
    Error_Handler();
  }
  sClockSourceConfig.ClockSource = TIM_CLOCKSOURCE_INTERNAL;
  if (HAL_TIM_ConfigClockSource(&htim8, &sClockSourceConfig) != HAL_OK)
  {
    Error_Handler();
  }
  if (HAL_TIM_OC_Init(&htim8) != HAL_OK)
  {
    Error_Handler();
  }
  sMasterConfig.MasterOutputTrigger = TIM_TRGO_RESET;
  sMasterConfig.MasterSlaveMode = TIM_MASTERSLAVEMODE_DISABLE;
  if (HAL_TIMEx_MasterConfigSynchronization(&htim8, &sMasterConfig) != HAL_OK)
  {
    Error_Handler();
  }
  sConfigOC.OCMode = TIM_OCMODE_TOGGLE;
  sConfigOC.Pulse = 1607;
  sConfigOC.OCPolarity = TIM_OCPOLARITY_HIGH;
  sConfigOC.OCNPolarity = TIM_OCNPOLARITY_HIGH;
  sConfigOC.OCFastMode = TIM_OCFAST_DISABLE;
  sConfigOC.OCIdleState = TIM_OCIDLESTATE_RESET;
  sConfigOC.OCNIdleState = TIM_OCNIDLESTATE_RESET;
  if (HAL_TIM_OC_ConfigChannel(&htim8, &sConfigOC, TIM_CHANNEL_3) != HAL_OK)
  {
    Error_Handler();
  }
  sBreakDeadTimeConfig.OffStateRunMode = TIM_OSSR_DISABLE;
  sBreakDeadTimeConfig.OffStateIDLEMode = TIM_OSSI_DISABLE;
  sBreakDeadTimeConfig.LockLevel = TIM_LOCKLEVEL_OFF;
  sBreakDeadTimeConfig.DeadTime = 0;
  sBreakDeadTimeConfig.BreakState = TIM_BREAK_DISABLE;
  sBreakDeadTimeConfig.BreakPolarity = TIM_BREAKPOLARITY_HIGH;
  sBreakDeadTimeConfig.AutomaticOutput = TIM_AUTOMATICOUTPUT_DISABLE;
  if (HAL_TIMEx_ConfigBreakDeadTime(&htim8, &sBreakDeadTimeConfig) != HAL_OK)
  {
    Error_Handler();
  }
  HAL_TIM_MspPostInit(&htim8);

}

static void MX_TIM9_Init(void)
{

  TIM_ClockConfigTypeDef sClockSourceConfig = {0};
  TIM_OC_InitTypeDef sConfigOC = {0};

  htim9.Instance = TIM9;
  htim9.Init.Prescaler = 44;
  htim9.Init.CounterMode = TIM_COUNTERMODE_UP;
  htim9.Init.Period = 99;
  htim9.Init.ClockDivision = TIM_CLOCKDIVISION_DIV1;
  htim9.Init.AutoReloadPreload = TIM_AUTORELOAD_PRELOAD_DISABLE;
  if (HAL_TIM_Base_Init(&htim9) != HAL_OK)
  {
    Error_Handler();
  }
  sClockSourceConfig.ClockSource = TIM_CLOCKSOURCE_INTERNAL;
  if (HAL_TIM_ConfigClockSource(&htim9, &sClockSourceConfig) != HAL_OK)
  {
    Error_Handler();
  }
  if (HAL_TIM_PWM_Init(&htim9) != HAL_OK)
  {
    Error_Handler();
  }
  sConfigOC.OCMode = TIM_OCMODE_PWM1;
  sConfigOC.Pulse = 0;
  sConfigOC.OCPolarity = TIM_OCPOLARITY_HIGH;
  sConfigOC.OCFastMode = TIM_OCFAST_DISABLE;
  if (HAL_TIM_PWM_ConfigChannel(&htim9, &sConfigOC, TIM_CHANNEL_1) != HAL_OK)
  {
    Error_Handler();
  }
  if (HAL_TIM_PWM_ConfigChannel(&htim9, &sConfigOC, TIM_CHANNEL_2) != HAL_OK)
  {
    Error_Handler();
  }
  HAL_TIM_MspPostInit(&htim9);

}

static void MX_TIM12_Init(void)
{

  TIM_ClockConfigTypeDef sClockSourceConfig = {0};
  TIM_OC_InitTypeDef sConfigOC = {0};

  htim12.Instance = TIM12;
  htim12.Init.Prescaler = 9;
  htim12.Init.CounterMode = TIM_COUNTERMODE_UP;
  htim12.Init.Period = 65535;
  htim12.Init.ClockDivision = TIM_CLOCKDIVISION_DIV1;
  htim12.Init.AutoReloadPreload = TIM_AUTORELOAD_PRELOAD_DISABLE;
  if (HAL_TIM_Base_Init(&htim12) != HAL_OK)
  {
    Error_Handler();
  }
  sClockSourceConfig.ClockSource = TIM_CLOCKSOURCE_INTERNAL;
  if (HAL_TIM_ConfigClockSource(&htim12, &sClockSourceConfig) != HAL_OK)
  {
    Error_Handler();
  }
  if (HAL_TIM_OC_Init(&htim12) != HAL_OK)
  {
    Error_Handler();
  }
  sConfigOC.OCMode = TIM_OCMODE_TOGGLE;
  sConfigOC.Pulse = 0;
  sConfigOC.OCPolarity = TIM_OCPOLARITY_HIGH;
  sConfigOC.OCFastMode = TIM_OCFAST_DISABLE;
  if (HAL_TIM_OC_ConfigChannel(&htim12, &sConfigOC, TIM_CHANNEL_1) != HAL_OK)
  {
    Error_Handler();
  }
  HAL_TIM_MspPostInit(&htim12);

}

static void MX_USART2_UART_Init(void)
{

  huart2.Instance = USART2;
  huart2.Init.BaudRate = 9600;
  huart2.Init.WordLength = UART_WORDLENGTH_8B;
  huart2.Init.StopBits = UART_STOPBITS_1;
  huart2.Init.Parity = UART_PARITY_NONE;
  huart2.Init.Mode = UART_MODE_TX_RX;
  huart2.Init.HwFlowCtl = UART_HWCONTROL_NONE;
  huart2.Init.OverSampling = UART_OVERSAMPLING_16;
  if (HAL_UART_Init(&huart2) != HAL_OK)
  {
    Error_Handler();
  }

}

static void MX_USART3_UART_Init(void)
{

  huart3.Instance = USART3;
  huart3.Init.BaudRate = 115200;
  huart3.Init.WordLength = UART_WORDLENGTH_8B;
  huart3.Init.StopBits = UART_STOPBITS_1;
  huart3.Init.Parity = UART_PARITY_NONE;
  huart3.Init.Mode = UART_MODE_TX_RX;
  huart3.Init.HwFlowCtl = UART_HWCONTROL_NONE;
  huart3.Init.OverSampling = UART_OVERSAMPLING_16;
  if (HAL_UART_Init(&huart3) != HAL_OK)
  {
    Error_Handler();
  }

}

static void MX_DMA_Init(void)
{

  /* DMA controller clock enable */
  __HAL_RCC_DMA1_CLK_ENABLE();
  __HAL_RCC_DMA2_CLK_ENABLE();

  /* DMA interrupt init */
  /* DMA1_Stream6_IRQn interrupt configuration */
  HAL_NVIC_SetPriority(DMA1_Stream6_IRQn, 15, 0);
  HAL_NVIC_EnableIRQ(DMA1_Stream6_IRQn);
  /* DMA2_Stream0_IRQn interrupt configuration */
  HAL_NVIC_SetPriority(DMA2_Stream0_IRQn, 11, 0);
  HAL_NVIC_EnableIRQ(DMA2_Stream0_IRQn);
  /* DMA2_Stream2_IRQn interrupt configuration */
  HAL_NVIC_SetPriority(DMA2_Stream2_IRQn, 15, 0);
  HAL_NVIC_EnableIRQ(DMA2_Stream2_IRQn);
  /* DMA2_Stream4_IRQn interrupt configuration */
  HAL_NVIC_SetPriority(DMA2_Stream4_IRQn, 15, 0);
  HAL_NVIC_EnableIRQ(DMA2_Stream4_IRQn);

}

static void MX_GPIO_Init(void)
{
  GPIO_InitTypeDef GPIO_InitStruct = {0};

  /* GPIO Ports Clock Enable */
  __HAL_RCC_GPIOE_CLK_ENABLE();
  __HAL_RCC_GPIOC_CLK_ENABLE();
  __HAL_RCC_GPIOH_CLK_ENABLE();
  __HAL_RCC_GPIOA_CLK_ENABLE();
  __HAL_RCC_GPIOB_CLK_ENABLE();
  __HAL_RCC_GPIOD_CLK_ENABLE();

  /*Configure GPIO pin Output Level */
  HAL_GPIO_WritePin(GPIOC, DebugOut_Pin|IR_EN_3_Pin|IR_EN_1_Pin|IR_EN_2_Pin
                          |Q0_Pin, GPIO_PIN_RESET);

  /*Configure GPIO pin Output Level */
  HAL_GPIO_WritePin(GPIOD, RIN1_Pin|RIN2_Pin|LIN1_Pin|LIN2_Pin, GPIO_PIN_RESET);

  /*Configure GPIO pin Output Level */
  HAL_GPIO_WritePin(IR_EN_0_GPIO_Port, IR_EN_0_Pin, GPIO_PIN_RESET);

  /*Configure GPIO pin Output Level */
  HAL_GPIO_WritePin(IR_PWM_GPIO_Port, IR_PWM_Pin, GPIO_PIN_SET);

  /*Configure GPIO pin Output Level */
  HAL_GPIO_WritePin(GPIOB, IR_EN_5_Pin|IR_EN_4_Pin, GPIO_PIN_RESET);

  /*Configure GPIO pins : TSOP_Pin INT_CH_4_Pin INT_CH_3_Pin */
  GPIO_InitStruct.Pin = TSOP_Pin|INT_CH_4_Pin|INT_CH_3_Pin;
  GPIO_InitStruct.Mode = GPIO_MODE_IT_RISING_FALLING;
  GPIO_InitStruct.Pull = GPIO_NOPULL;
  HAL_GPIO_Init(GPIOE, &GPIO_InitStruct);

  /*Configure GPIO pin : PW_OFF_Pin */
  GPIO_InitStruct.Pin = PW_OFF_Pin;
  GPIO_InitStruct.Mode = GPIO_MODE_INPUT;
  GPIO_InitStruct.Pull = GPIO_NOPULL;
  HAL_GPIO_Init(PW_OFF_GPIO_Port, &GPIO_InitStruct);

  /*Configure GPIO pins : DebugOut_Pin IR_EN_3_Pin IR_EN_1_Pin IR_EN_2_Pin
                           Q0_Pin */
  GPIO_InitStruct.Pin = DebugOut_Pin|IR_EN_3_Pin|IR_EN_1_Pin|IR_EN_2_Pin
                          |Q0_Pin;
  GPIO_InitStruct.Mode = GPIO_MODE_OUTPUT_PP;
  GPIO_InitStruct.Pull = GPIO_NOPULL;
  GPIO_InitStruct.Speed = GPIO_SPEED_FREQ_LOW;
  HAL_GPIO_Init(GPIOC, &GPIO_InitStruct);

  /*Configure GPIO pin : INT_CH_2_Pin */
  GPIO_InitStruct.Pin = INT_CH_2_Pin;
  GPIO_InitStruct.Mode = GPIO_MODE_IT_RISING_FALLING;
  GPIO_InitStruct.Pull = GPIO_NOPULL;
  HAL_GPIO_Init(INT_CH_2_GPIO_Port, &GPIO_InitStruct);

  /*Configure GPIO pin : INT_CH_1_Pin */
  GPIO_InitStruct.Pin = INT_CH_1_Pin;
  GPIO_InitStruct.Mode = GPIO_MODE_IT_RISING_FALLING;
  GPIO_InitStruct.Pull = GPIO_NOPULL;
  HAL_GPIO_Init(INT_CH_1_GPIO_Port, &GPIO_InitStruct);

  /*Configure GPIO pins : RIN1_Pin RIN2_Pin LIN1_Pin LIN2_Pin */
  GPIO_InitStruct.Pin = RIN1_Pin|RIN2_Pin|LIN1_Pin|LIN2_Pin;
  GPIO_InitStruct.Mode = GPIO_MODE_OUTPUT_PP;
  GPIO_InitStruct.Pull = GPIO_NOPULL;
  GPIO_InitStruct.Speed = GPIO_SPEED_FREQ_LOW;
  HAL_GPIO_Init(GPIOD, &GPIO_InitStruct);

  /*Configure GPIO pins : INT_CH_0_Pin INT_CH_5_Pin */
  GPIO_InitStruct.Pin = INT_CH_0_Pin|INT_CH_5_Pin;
  GPIO_InitStruct.Mode = GPIO_MODE_IT_RISING_FALLING;
  GPIO_InitStruct.Pull = GPIO_NOPULL;
  HAL_GPIO_Init(GPIOA, &GPIO_InitStruct);

  /*Configure GPIO pin : IR_EN_0_Pin */
  GPIO_InitStruct.Pin = IR_EN_0_Pin;
  GPIO_InitStruct.Mode = GPIO_MODE_OUTPUT_PP;
  GPIO_InitStruct.Pull = GPIO_NOPULL;
  GPIO_InitStruct.Speed = GPIO_SPEED_FREQ_LOW;
  HAL_GPIO_Init(IR_EN_0_GPIO_Port, &GPIO_InitStruct);

  /*Configure GPIO pin : IR_PWM_Pin */
  GPIO_InitStruct.Pin = IR_PWM_Pin;
  GPIO_InitStruct.Mode = GPIO_MODE_OUTPUT_PP;
  GPIO_InitStruct.Pull = GPIO_NOPULL;
  GPIO_InitStruct.Speed = GPIO_SPEED_FREQ_VERY_HIGH;
  HAL_GPIO_Init(IR_PWM_GPIO_Port, &GPIO_InitStruct);

  /*Configure GPIO pins : ADD0_Pin ADD1_Pin ADD2_Pin ADD3_Pin
                           ADD4_Pin ADD5_Pin */
  GPIO_InitStruct.Pin = ADD0_Pin|ADD1_Pin|ADD2_Pin|ADD3_Pin
                          |ADD4_Pin|ADD5_Pin;
  GPIO_InitStruct.Mode = GPIO_MODE_INPUT;
  GPIO_InitStruct.Pull = GPIO_PULLUP;
  HAL_GPIO_Init(GPIOD, &GPIO_InitStruct);

  /*Configure GPIO pins : ADD6_Pin ADD7_Pin */
  GPIO_InitStruct.Pin = ADD6_Pin|ADD7_Pin;
  GPIO_InitStruct.Mode = GPIO_MODE_INPUT;
  GPIO_InitStruct.Pull = GPIO_PULLUP;
  HAL_GPIO_Init(GPIOB, &GPIO_InitStruct);

  /*Configure GPIO pins : IR_EN_5_Pin IR_EN_4_Pin */
  GPIO_InitStruct.Pin = IR_EN_5_Pin|IR_EN_4_Pin;
  GPIO_InitStruct.Mode = GPIO_MODE_OUTPUT_PP;
  GPIO_InitStruct.Pull = GPIO_NOPULL;
  GPIO_InitStruct.Speed = GPIO_SPEED_FREQ_LOW;
  HAL_GPIO_Init(GPIOB, &GPIO_InitStruct);

  /* EXTI interrupt init*/
  HAL_NVIC_SetPriority(EXTI0_IRQn, 10, 0);
  HAL_NVIC_EnableIRQ(EXTI0_IRQn);

  HAL_NVIC_SetPriority(EXTI1_IRQn, 10, 0);
  HAL_NVIC_EnableIRQ(EXTI1_IRQn);

  HAL_NVIC_SetPriority(EXTI2_IRQn, 10, 0);
  HAL_NVIC_EnableIRQ(EXTI2_IRQn);

  HAL_NVIC_SetPriority(EXTI3_IRQn, 8, 0);
  HAL_NVIC_EnableIRQ(EXTI3_IRQn);

  HAL_NVIC_SetPriority(EXTI9_5_IRQn, 10, 0);
  HAL_NVIC_EnableIRQ(EXTI9_5_IRQn);

  HAL_NVIC_SetPriority(EXTI15_10_IRQn, 10, 0);
  HAL_NVIC_EnableIRQ(EXTI15_10_IRQn);

}

/* USER CODE BEGIN 4 */
void Error_Handler2(uint16_t ui16ErrorCode)
{
	uint16_t LocalErrorVariable = 0;
	LocalErrorVariable ++;		// dummy
	__disable_irq();
	while(1)
	{
		LocalErrorVariable = ui16ErrorCode;	// to be able to see on expression watch after error occurred
	}
}
//----------------------------------------------------------------------------------
void HAL_GPIO_EXTI_Callback(uint16_t GPIO_Pin)
{	//UNUSED(GPIO_Pin);

  if( (GPIO_Pin == INT_CH_0_Pin) )		//Interaction.h INT_CH_0 on PA9
  {
	  InteractionCH0Callback();
	  return;
  }
  if( (GPIO_Pin == INT_CH_1_Pin) )		//Interaction.h INT_CH_1 on PD8
  {
	  InteractionCH1Callback();
	  return;
  }
  if( (GPIO_Pin == INT_CH_5_Pin) )		//Interaction.h INT_CH_5 on PA10
  {
	  InteractionCH5Callback();
	  return;
  }

  return;
}
//----------------------------------------------------------------------------------

void HAL_ADC_ConvCpltCallback(ADC_HandleTypeDef* hadc)
{	//UNUSED(hadc);
	//uint8_t i;

	//i = 123;
	//i++;
	//if(i) i=123;
	// interaction section
	//if(hadc->Instance == ADC1)
	//{
		//InteractionADC1DMACallback();
		//return;
	//}

	// QRE section
	if(hadc->Instance == ADC2)
	{
		QREADC2DMACallback();
		//HAL_GPIO_WritePin(GPIOC, GPIO_PIN_13, GPIO_PIN_SET);	//  debug on PC13 HIGH

		//i = 129;
		//i++;
		//if(i) i=123;
		//HAL_GPIO_WritePin(GPIOC, GPIO_PIN_13, GPIO_PIN_RESET);  //	debug on PC13 LOW
		return;
	}

	return;

}

//----------------------------------------------------------------------------------
//----------------------------------------------------------------------------------
//----------------------------------------------------------------------------------
//----------------------------------------------------------------------------------
//----------------------------------------------------------------------------------
//----------------------------------------------------------------------------------
/* USER CODE END 4 */

void Error_Handler(void)
{
  __disable_irq();
  while (1)
  {
  }
}
